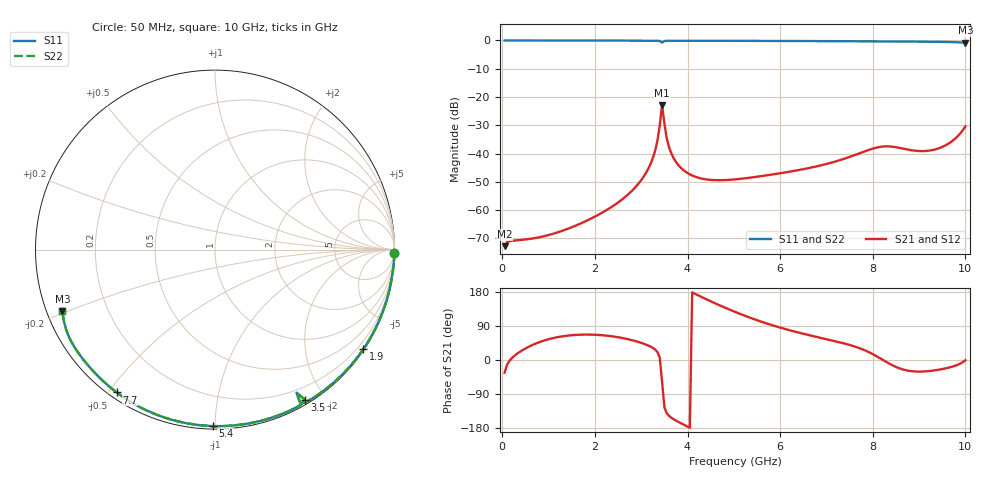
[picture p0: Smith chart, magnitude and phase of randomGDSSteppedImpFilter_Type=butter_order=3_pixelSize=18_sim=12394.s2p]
! freq	dB(S11)	phase(S11)	dB(S12)	phase(S12)
!  dB(S21)	phase(S21)	dB(S22)	phase(S22)
!S-par simulation data
#  GHz  S  DB  R 50
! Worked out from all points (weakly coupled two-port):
!   200 points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, 50 MHz to 10 GHz, reference 50 ohm
!   highest |S21| = -22.78 dB at 3.45 GHz (marker M1); lowest = -72.8 dB at 50 MHz (marker M2)
!   lowest |S11| = -0.8 dB at 10 GHz (marker M3), VSWR 23.09, Z = 2.25 - j9.68 ohm
!   |S11| at or under -10 dB: nowhere
!   |S22| runs from -0.8 to 0.0 dB; largest |S21 - S12| = 0
!   S11 on the Smith chart (normalised r, x): 50 MHz: open; 1.9 GHz: 0.03, -3.29; 3.5 GHz: 0.05, -1.76; 5.4 GHz: 0.02, -0.99; 7.7 GHz: 0.02, -0.53; 10 GHz: 0.04, -0.19
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0.05  -0.00 -0.9  -72.75 -33.5  -72.75 -33.5  -0.00 -0.9
1.75  -0.04 -31.2  -64.30 67.0  -64.30 67.0  -0.04 -31.2
1.9  -0.04 -33.9  -63.13 67.0  -63.13 67.0  -0.04 -33.9
2.55  -0.06 -45.1  -56.70 59.0  -56.70 59.0  -0.06 -45.1
3  -0.07 -52.8  -49.40 45.2  -49.40 45.2  -0.07 -52.8
3.25  -0.08 -57.2  -41.63 32.0  -41.63 32.0  -0.08 -57.2
3.35  -0.11 -59.4  -35.50 20.9  -35.50 20.9  -0.11 -59.4
3.4  -0.20 -60.9  -30.08 6.5  -30.08 6.5  -0.20 -60.9
3.45  -0.75 -60.3  -22.78 -56.8  -22.78 -56.8  -0.75 -60.3
3.5  -0.22 -59.1  -29.33 -124.7  -29.33 -124.7  -0.22 -59.1
3.55  -0.12 -60.6  -34.50 -140.1  -34.50 -140.1  -0.12 -60.6
3.65  -0.10 -62.8  -39.94 -152.2  -39.94 -152.2  -0.10 -62.8
3.95  -0.10 -67.9  -46.34 -172.6  -46.34 -172.6  -0.10 -67.9
4.4  -0.11 -75.2  -49.13 160.7  -49.13 160.7  -0.11 -75.2
5.05  -0.13 -85.4  -49.09 125.8  -49.09 125.8  -0.13 -85.4
5.4  -0.15 -90.8  -48.42 109.4  -48.42 109.4  -0.15 -90.8
6.7  -0.22 -110.2  -44.85 63.4  -44.85 63.4  -0.22 -110.2
7.7  -0.30 -124.5  -39.99 31.8  -39.99 31.8  -0.30 -124.5
8.35  -0.36 -133.7  -37.47 -9.0  -37.47 -9.0  -0.36 -133.7
9.35  -0.45 -148.3  -38.53 -27.1  -38.53 -27.1  -0.45 -148.3
9.7  -0.59 -153.7  -35.76 -18.2  -35.76 -18.2  -0.59 -153.7
10  -0.75 -158.0  -30.43 -0.7  -30.43 -0.7  -0.75 -158.0
